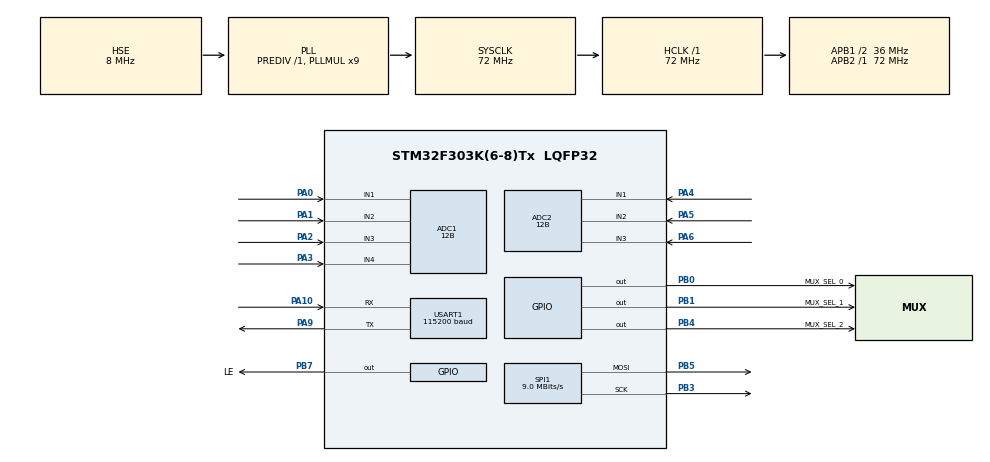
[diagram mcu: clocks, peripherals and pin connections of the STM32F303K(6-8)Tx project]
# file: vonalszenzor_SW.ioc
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ADC1.Channel-11\#ChannelRegularConversion=ADC_CHANNEL_1
ADC1.Channel-12\#ChannelRegularConversion=ADC_CHANNEL_2
ADC1.Channel-13\#ChannelRegularConversion=ADC_CHANNEL_3
ADC1.Channel-14\#ChannelRegularConversion=ADC_CHANNEL_4
ADC1.ClockPrescaler=ADC_CLOCK_SYNC_PCLK_DIV1
ADC1.ContinuousConvMode=DISABLE
ADC1.DMAContinuousRequests=ENABLE
ADC1.DataAlign=ADC_DATAALIGN_RIGHT
ADC1.DiscontinuousConvMode=DISABLE
ADC1.EOCSelection=ADC_EOC_SEQ_CONV
ADC1.EnableAnalogWatchDog1=false
ADC1.EnableAnalogWatchDog2=false
ADC1.EnableAnalogWatchDog3=false
ADC1.EnableInjectedConversion=DISABLE
ADC1.EnableRegularConversion=ENABLE
ADC1.ExternalTrigConvEdge=ADC_EXTERNALTRIGCONVEDGE_NONE
ADC1.LowPowerAutoWait=DISABLE
ADC1.NbrOfConversion=4
ADC1.NbrOfConversionFlag=1
ADC1.Offset-11\#ChannelRegularConversion=0
ADC1.Offset-12\#ChannelRegularConversion=0
ADC1.Offset-13\#ChannelRegularConversion=0
ADC1.Offset-14\#ChannelRegularConversion=0
ADC1.OffsetNumber-11\#ChannelRegularConversion=ADC_OFFSET_NONE
ADC1.OffsetNumber-12\#ChannelRegularConversion=ADC_OFFSET_NONE
ADC1.OffsetNumber-13\#ChannelRegularConversion=ADC_OFFSET_NONE
ADC1.OffsetNumber-14\#ChannelRegularConversion=ADC_OFFSET_NONE
ADC1.Overrun=ADC_OVR_DATA_OVERWRITTEN
ADC1.Rank-11\#ChannelRegularConversion=1
ADC1.Rank-12\#ChannelRegularConversion=2
ADC1.Rank-13\#ChannelRegularConversion=3
ADC1.Rank-14\#ChannelRegularConversion=4
ADC1.Resolution=ADC_RESOLUTION_12B
ADC1.SamplingTime-11\#ChannelRegularConversion=ADC_SAMPLETIME_19CYCLES_5
ADC1.SamplingTime-12\#ChannelRegularConversion=ADC_SAMPLETIME_19CYCLES_5
ADC1.SamplingTime-13\#ChannelRegularConversion=ADC_SAMPLETIME_19CYCLES_5
ADC1.SamplingTime-14\#ChannelRegularConversion=ADC_SAMPLETIME_19CYCLES_5
ADC1.ScanConvMode=ADC_SCAN_ENABLE
ADC1.master=1
ADC2.Channel-0\#ChannelRegularConversion=ADC_CHANNEL_1
ADC2.Channel-1\#ChannelRegularConversion=ADC_CHANNEL_2
ADC2.Channel-2\#ChannelRegularConversion=ADC_CHANNEL_3
ADC2.ClockPrescaler=ADC_CLOCK_SYNC_PCLK_DIV1
ADC2.ContinuousConvMode=DISABLE
ADC2.DMAContinuousRequests=ENABLE
ADC2.DataAlign=ADC_DATAALIGN_RIGHT
ADC2.DiscontinuousConvMode=DISABLE
ADC2.EOCSelection=ADC_EOC_SEQ_CONV
ADC2.EnableAnalogWatchDog1=false
ADC2.EnableAnalogWatchDog2=false
ADC2.EnableAnalogWatchDog3=false
ADC2.EnableInjectedConversion=DISABLE
ADC2.EnableRegularConversion=ENABLE
ADC2.ExternalTrigConvEdge=ADC_EXTERNALTRIGCONVEDGE_NONE
ADC2.LowPowerAutoWait=DISABLE
ADC2.NbrOfConversion=3
ADC2.NbrOfConversionFlag=1
ADC2.Offset-0\#ChannelRegularConversion=0
ADC2.Offset-1\#ChannelRegularConversion=0
ADC2.Offset-2\#ChannelRegularConversion=0
ADC2.OffsetNumber-0\#ChannelRegularConversion=ADC_OFFSET_NONE
ADC2.OffsetNumber-1\#ChannelRegularConversion=ADC_OFFSET_NONE
ADC2.OffsetNumber-2\#ChannelRegularConversion=ADC_OFFSET_NONE
ADC2.Overrun=ADC_OVR_DATA_OVERWRITTEN
ADC2.Rank-0\#ChannelRegularConversion=1
ADC2.Rank-1\#ChannelRegularConversion=2
ADC2.Rank-2\#ChannelRegularConversion=3
ADC2.Resolution=ADC_RESOLUTION_12B
ADC2.SamplingTime-0\#ChannelRegularConversion=ADC_SAMPLETIME_19CYCLES_5
ADC2.SamplingTime-1\#ChannelRegularConversion=ADC_SAMPLETIME_19CYCLES_5
ADC2.SamplingTime-2\#ChannelRegularConversion=ADC_SAMPLETIME_19CYCLES_5
ADC2.ScanConvMode=ADC_SCAN_ENABLE
Dma.ADC1.0.Direction=DMA_PERIPH_TO_MEMORY
Dma.ADC1.0.Instance=DMA1_Channel1
Dma.ADC1.0.MemDataAlignment=DMA_MDATAALIGN_HALFWORD
Dma.ADC1.0.MemInc=DMA_MINC_ENABLE
Dma.ADC1.0.Mode=DMA_CIRCULAR
Dma.ADC1.0.PeriphDataAlignment=DMA_PDATAALIGN_HALFWORD
Dma.ADC1.0.PeriphInc=DMA_PINC_DISABLE
Dma.ADC1.0.Priority=DMA_PRIORITY_LOW
Dma.ADC2.1.Direction=DMA_PERIPH_TO_MEMORY
Dma.ADC2.1.Instance=DMA1_Channel2
Dma.ADC2.1.MemDataAlignment=DMA_MDATAALIGN_HALFWORD
Dma.ADC2.1.MemInc=DMA_MINC_ENABLE
Dma.ADC2.1.Mode=DMA_CIRCULAR
Dma.ADC2.1.PeriphDataAlignment=DMA_PDATAALIGN_HALFWORD
Dma.ADC2.1.PeriphInc=DMA_PINC_DISABLE
Dma.ADC2.1.Priority=DMA_PRIORITY_LOW
Dma.Request0=ADC1
Dma.Request1=ADC2
Dma.Request2=USART1_TX
Dma.Request3=USART1_RX
Dma.USART1_RX.3.Direction=DMA_PERIPH_TO_MEMORY
Dma.USART1_RX.3.Instance=DMA1_Channel5
Dma.USART1_RX.3.MemDataAlignment=DMA_MDATAALIGN_BYTE
Dma.USART1_RX.3.MemInc=DMA_MINC_ENABLE
Dma.USART1_RX.3.Mode=DMA_CIRCULAR
Dma.USART1_RX.3.PeriphDataAlignment=DMA_PDATAALIGN_BYTE
Dma.USART1_RX.3.PeriphInc=DMA_PINC_DISABLE
Dma.USART1_RX.3.Priority=DMA_PRIORITY_LOW
Dma.USART1_TX.2.Direction=DMA_MEMORY_TO_PERIPH
Dma.USART1_TX.2.Instance=DMA1_Channel4
Dma.USART1_TX.2.MemDataAlignment=DMA_MDATAALIGN_BYTE
Dma.USART1_TX.2.MemInc=DMA_MINC_ENABLE
Dma.USART1_TX.2.Mode=DMA_NORMAL
Dma.USART1_TX.2.PeriphDataAlignment=DMA_PDATAALIGN_BYTE
Dma.USART1_TX.2.PeriphInc=DMA_PINC_DISABLE
Dma.USART1_TX.2.Priority=DMA_PRIORITY_LOW
Mcu.Family=STM32F3
Mcu.Name=STM32F303K(6-8)Tx
Mcu.Package=LQFP32
NVIC.ADC1_2_IRQn=true\:0\:0\:false\:false\:true
NVIC.DMA1_Channel1_IRQn=true\:0\:0\:false\:false\:true
NVIC.DMA1_Channel2_IRQn=true\:0\:0\:false\:false\:true
NVIC.DMA1_Channel4_IRQn=true\:0\:0\:false\:false\:true
NVIC.DMA1_Channel5_IRQn=true\:0\:0\:false\:false\:true
NVIC.PriorityGroup=NVIC_PRIORITYGROUP_4
NVIC.TIM7_DAC2_IRQn=true\:0\:0\:false\:false\:true
NVIC.USART1_IRQn=true\:0\:0\:false\:false\:true
PA0.Mode=IN1-Single-Ended
PA0.Signal=ADC1_IN1
PA1.Mode=IN2-Single-Ended
PA1.Signal=ADC1_IN2
PA10.GPIO_FM8=SYSCFG_CFGR1_I2C_PB8_FMP
PA10.Mode=Asynchronous
PA10.Signal=USART1_RX
PA13.Mode=Serial_Wire
PA13.Signal=SYS_JTMS-SWDIO
PA14.Mode=Serial_Wire
PA14.Signal=SYS_JTCK-SWCLK
PA2.Mode=IN3-Single-Ended
PA2.Signal=ADC1_IN3
PA3.Mode=IN4-Single-Ended
PA3.Signal=ADC1_IN4
PA4.Mode=IN1-Single-Ended
PA4.Signal=ADC2_IN1
PA5.Mode=IN2-Single-Ended
PA5.Signal=ADC2_IN2
PA6.Mode=IN3-Single-Ended
PA6.Signal=ADC2_IN3
PA9.GPIO_FM8=SYSCFG_CFGR1_I2C_PB8_FMP
PA9.Mode=Asynchronous
PA9.Signal=USART1_TX
PB0.GPIO_Label=MUX_SEL_0
PB0.GPIO_Speed=GPIO_SPEED_FREQ_HIGH
PB0.PinState=GPIO_PIN_RESET
PB0.Signal=GPIO_Output
PB1.GPIO_Label=MUX_SEL_1
PB1.GPIO_Speed=GPIO_SPEED_FREQ_HIGH
PB1.Signal=GPIO_Output
PB3.Mode=TX_Only_Simplex_Unidirect_Master
PB3.Signal=SPI1_SCK
PB4.GPIO_Label=MUX_SEL_2
PB4.GPIO_Speed=GPIO_SPEED_FREQ_HIGH
PB4.Signal=GPIO_Output
PB5.Mode=TX_Only_Simplex_Unidirect_Master
PB5.Signal=SPI1_MOSI
PB7.GPIO_FM7=SYSCFG_CFGR1_I2C_PB7_FMP
PB7.GPIO_Label=LE
PB7.GPIO_Speed=GPIO_SPEED_FREQ_HIGH
PB7.Signal=GPIO_Output
PF0\ /\ OSC_IN.Mode=HSE-External-Oscillator
PF0\ /\ OSC_IN.Signal=RCC_OSC_IN
PF1\ /\ OSC_OUT.Mode=HSE-External-Oscillator
PF1\ /\ OSC_OUT.Signal=RCC_OSC_OUT
ProjectManager.HeapSize=0x200
ProjectManager.StackSize=0x400
ProjectManager.TargetToolchain=SW4STM32
RCC.AHBFreq_Value=72000000
RCC.APB1CLKDivider=RCC_HCLK_DIV2
RCC.APB1Freq_Value=36000000
RCC.APB1TimFreq_Value=72000000
RCC.APB2Freq_Value=72000000
RCC.APB2TimFreq_Value=72000000
RCC.CortexFreq_Value=72000000
RCC.HCLKFreq_Value=72000000
RCC.HSE_VALUE=8000000
RCC.HSIState=RCC_HSI_ON
RCC.HSI_VALUE=8000000
RCC.PLLMUL=RCC_PLL_MUL9
RCC.PLLSourceVirtual=RCC_PLLSOURCE_HSE
RCC.SYSCLKFreq_VALUE=72000000
RCC.SYSCLKSourceVirtual=RCC_SYSCLKSOURCE_PLLCLK
SPI1.BaudRatePrescaler=SPI_BAUDRATEPRESCALER_8
SPI1.CalculateBaudRate=9.0 MBits/s
SPI1.DataSize=SPI_DATASIZE_8BIT
SPI1.Mode=SPI_MODE_MASTER
SPI1.NSSPMode=SPI_NSS_PULSE_DISABLE
TIM7.Period=10079
TIM7.Prescaler=1
USART1.BaudRate=115200
USART1.SwapParam=UART_ADVFEATURE_SWAP_ENABLE
USART1.WordLength=UART_WORDLENGTH_8B
VP_TIM7_VS_ClockSourceINT.Mode=Enable_Timer
board=vonalszenzor_SW

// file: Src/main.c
/**
  ******************************************************************************
  * File Name          : main.c
  * Description        : Main program body
  ******************************************************************************
  *
  * COPYRIGHT(c) 2017 STMicroelectronics
  *
  * Redistribution and use in source and binary forms, with or without modification,
  * are permitted provided that the following conditions are met:
  *   1. Redistributions of source code must retain the above copyright notice,
  *      this list of conditions and the following disclaimer.
  *   2. Redistributions in binary form must reproduce the above copyright notice,
  *      this list of conditions and the following disclaimer in the documentation
  *      and/or other materials provided with the distribution.
  *   3. Neither the name of STMicroelectronics nor the names of its contributors
  *      may be used to endorse or promote products derived from this software
  *      without specific prior written permission.
  *
  * THIS SOFTWARE IS PROVIDED BY THE COPYRIGHT HOLDERS AND CONTRIBUTORS "AS IS"
  * AND ANY EXPRESS OR IMPLIED WARRANTIES, INCLUDING, BUT NOT LIMITED TO, THE
  * IMPLIED WARRANTIES OF MERCHANTABILITY AND FITNESS FOR A PARTICULAR PURPOSE ARE
  * DISCLAIMED. IN NO EVENT SHALL THE COPYRIGHT HOLDER OR CONTRIBUTORS BE LIABLE
  * FOR ANY DIRECT, INDIRECT, INCIDENTAL, SPECIAL, EXEMPLARY, OR CONSEQUENTIAL
  * DAMAGES (INCLUDING, BUT NOT LIMITED TO, PROCUREMENT OF SUBSTITUTE GOODS OR
  * SERVICES; LOSS OF USE, DATA, OR PROFITS; OR BUSINESS INTERRUPTION) HOWEVER
  * CAUSED AND ON ANY THEORY OF LIABILITY, WHETHER IN CONTRACT, STRICT LIABILITY,
  * OR TORT (INCLUDING NEGLIGENCE OR OTHERWISE) ARISING IN ANY WAY OUT OF THE USE
  * OF THIS SOFTWARE, EVEN IF ADVISED OF THE POSSIBILITY OF SUCH DAMAGE.
  *
  ******************************************************************************
  */
#include "main.h"
#include "stm32f3xx_hal.h"
#include "adc.h"
#include "dma.h"
#include "spi.h"
#include "tim.h"
#include "usart.h"
#include "gpio.h"

/* USER CODE BEGIN Includes */

#include "stdbool.h"
#include "math.h"

/* USER CODE END Includes */

/* USER CODE BEGIN PV */
/* Private variables ---------------------------------------------------------*/
/* Defines */
//WMA
#define WMAFILTERMELYSEG 16//Korabban 4 volt, de atirtam
//Vonalszam
#define NINCSVONAL 10
#define EGYVONAL 1
#define KETVONAL 2
#define HAROMVONAL 3
#define VONALHIBA 15
#define FULLVONAL 70
#define NORMAL_VONALKOVETES 50
//UTVONANALVALASZTAS
#define JOBB 30
#define BAL 45

/* Global Variable definition */
//ADC
volatile bool adckeszelso = false;
volatile bool adckeszmasodik = false;
uint16_t adceredmenyelso[4] = {0,0,0,0};
uint16_t adceredmenymasodik[3] = {0,0,0};
volatile bool varakozas280usec = false;

//WMA filter
uint32_t wmafilterarray_elso[WMAFILTERMELYSEG];
uint32_t wmafilterarray_masodik[WMAFILTERMELYSEG];

//UART
volatile bool uartcsomagerkezett=false;

/* USER CODE END PV */

void SystemClock_Config(void);
void Error_Handler(void);

/* USER CODE BEGIN PFP */
/* Private function prototypes -----------------------------------------------*/
void MUXselectkuldes(uint8_t* infraLEDminta);
void WMAfilterkezeles(uint32_t* WMAfilterarray, uint32_t* filteredposition, uint32_t* newelement);
void szenzorertekatlagolas (uint16_t* forrastomb, uint8_t hossz, uint32_t* eredmeny);
void koszszures(uint16_t* forrastomb, uint8_t hossz);
void visszajelzesthresholdolttombbol(uint16_t* forrastomb, uint8_t* visszajelzotomb, uint8_t hossz);
void vonalszam(uint16_t* forrastomb, uint8_t hossz, uint8_t* vonaltipus);
void utvonalvalasztas_szenzoradatokbol(uint16_t* forrastomb, uint8_t hossz, uint8_t irany);
uint16_t min(uint16_t elso, uint16_t masodik, uint16_t harmadik, uint16_t negyedik, uint16_t otodik);
void Minimumszuro_5(uint16_t* forrastomb, uint8_t hossz, uint16_t* szurt_ertekek_atlaga);
uint16_t kozepso_elem_5(uint16_t elso, uint16_t masodik, uint16_t harmadik, uint16_t negyedik, uint16_t otodik);
void Medianszuro5_es_atlag(uint16_t* forrastomb, uint8_t hossz, uint16_t* szurt_ertekek_atlaga);

//UART
void send16bitdecimal_to_uart(UART_HandleTypeDef* huart, uint16_t* data,uint32_t Timeout);
void sendadcvals_to_uart(UART_HandleTypeDef* huart, uint16_t* data1,uint16_t* data2, uint16_t* data3, uint16_t* data4,uint32_t Timeout);

/* USER CODE END PFP */

/* USER CODE BEGIN 0 */

/*Periferiak kezelofuggvenyei (weak callback-ek) */

void HAL_ADC_ConvCpltCallback(ADC_HandleTypeDef* hadc)
{
	if(hadc->Instance == ADC1)
	{
		adckeszelso=true;
	}

	else if(hadc->Instance == ADC2)
	{
		adckeszmasodik=true;
	}
}

void HAL_TIM_PeriodElapsedCallback(TIM_HandleTypeDef* htim)
{
	if (htim->Instance == TIM7)
	{
		varakozas280usec = true;
	}
}

void HAL_UART_RxCpltCallback(UART_HandleTypeDef *huart)
{
	if (huart->Instance == USART1)
	{
		uartcsomagerkezett=true;
	}
}
/* USER CODE END 0 */

int main(void)
{

  /* USER CODE BEGIN 1 */
  /* Local Variable definition */
	//SPI
	uint8_t infraLEDminta=0b00000001;
	uint8_t visszajelzoLEDminta[4] = {0,0,0,0};
	uint8_t SPIIteracio=8;

	//ADC
	uint16_t szenzorertekek_elso[4][8];
	uint16_t szenzorertekek_thresholddal_elso[4][8];

	uint16_t szenzorertekek_masodik[3][8];
	uint16_t szenzorertekek_thresholddal_masodik[3][8];

	uint16_t threshold_elso=1200;//1300;//900;
	uint16_t threshold_masodik=1200;
	uint16_t threshold=1200;

	//Szenzor adatok
	uint32_t pozicio_elso=1600;
	uint32_t pozicio_elozo_elso;
	uint32_t pozicioWMA_elso;
	uint8_t vonaltipus=EGYVONAL;

	uint32_t pozicio_masodik=1200;
	uint32_t pozicio_elozo_masodik;
	uint32_t pozicioWMA_masodik;

	//UTVONALVALASZTAS
	bool utvonalvalasztas_aktiv=false;
	bool jobbra_menjunk=false;
	bool balra_menjunk=false;
	uint8_t vonaltipus_elozo=EGYVONAL;

	//UART
	 uint8_t endline=10;
	 uint8_t CR=13;
	 uint8_t tab=9;
	 uint8_t zero[4]={48,48,48,48};
	 uint8_t elkuldendo[5]={0,0,0,0,0};
	 uint8_t uart_rx_csomag;
	 bool uartcsomag_elkapva=false;
	 char string[20];

	 uint8_t ciklusszamlalo=0;

  /* USER CODE END 1 */

  /* MCU Configuration----------------------------------------------------------*/

  /* Reset of all peripherals, Initializes the Flash interface and the Systick. */
  HAL_Init();

  /* Configure the system clock */
  SystemClock_Config();

  /* Initialize all configured peripherals */
  MX_GPIO_Init();
  MX_DMA_Init();
  MX_USART1_UART_Init();
  MX_SPI1_Init();
  MX_ADC1_Init();
  MX_ADC2_Init();
  MX_TIM7_Init();

  /* USER CODE BEGIN 2 */
  HAL_UART_Receive_DMA(&huart1, &uart_rx_csomag, 1);

  /* USER CODE END 2 */

  /* Infinite loop */
  /* USER CODE BEGIN WHILE */
  while (1)
  {
	  //A TCRT-k infraLED-mintajanak kikuldese SPI-on (7 ugyanolyan byte mivel 7x8 TCRT van)
	  for(int q=0; q<7; q++)
	  {
		  HAL_SPI_Transmit(&hspi1,&infraLEDminta,1,1000);
	  }
	  //A visszajelzo LED-ekhez 4 byte kikuldese SPI-on
	  HAL_SPI_Transmit(&hspi1, visszajelzoLEDminta, 4, 1000);

	  //Latch enable impulzus kiadása
	  HAL_GPIO_WritePin(LE_GPIO_Port,LE_Pin,GPIO_PIN_SET);
	  HAL_GPIO_WritePin(LE_GPIO_Port,LE_Pin,GPIO_PIN_RESET);

	  //Timer inditas, hogy a TCRT-k baziskapacitasa biztos feltoltodjon  - 280us -------------------------------------------------------------------------------------------
	  varakozas280usec=false;
	  __HAL_TIM_SET_COUNTER(&htim7, 0);
	  HAL_TIM_Base_Start_IT(&htim7);

	  //MUX kezeles
	  MUXselectkuldes(&infraLEDminta);

	  //szenzorertekek teljes feldolgozasa a 8. iteracioban + UART kuldes
	  if(infraLEDminta==0b00000010)
	  {
		  /*ciklusszamlalo++;
		  if(ciklusszamlalo > 100)
		  {
			  ciklusszamlalo=0;
			  Medianszuro5_es_atlag(szenzorertekek_masodik, 24, &threshold_masodik);
			  Medianszuro5_es_atlag(szenzorertekek_elso, 32, &threshold_elso);
		  }*/

		  //ELSO szenzorsor -----------
		  //FONTOS! Egyes fuggvenyek a megkapott tomboket manipulaljak, igy a sorrendjuk nem mindegy!!!
		 // koszszures(szenzorertekek_thresholddal_elso, 32);
		  vonalszam(szenzorertekek_thresholddal_elso, 32, &vonaltipus);
		  visszajelzesthresholdolttombbol(szenzorertekek_thresholddal_elso, visszajelzoLEDminta, 32);

		  //Ha kell utvonalat valasztani az ugyessegin, akkor a thresholdolt tombot manipulaljuk
		  //Csak a megfelelo iranyban levo vonal marad meg, ebbol szamoljuk a poziciot
		  if(utvonalvalasztas_aktiv==true)
		  {
			  if(balra_menjunk)
				  utvonalvalasztas_szenzoradatokbol(szenzorertekek_thresholddal_elso, 32, BAL);
			  else if(jobbra_menjunk)
				  utvonalvalasztas_szenzoradatokbol(szenzorertekek_thresholddal_elso, 32, JOBB);
		  }

		  szenzorertekatlagolas(szenzorertekek_thresholddal_elso,32,&pozicio_elso);
		  //Az elso szenzorsor forditva van bekotve, igy a poziciot at kell forditani a masik iranyba. De ha 0 a pozicio, akkor nem latunk vonalat, ekkor nem szabad valtoztatni. Ehhez ez kell:
		  if(pozicio_elso)
			  pozicio_elso=3300-pozicio_elso;

		  //Elmentjuk az utolso poziciot, amit lattunk. Amennyiben leterunk a vonalrol, az utolso latott poziciot tartjuk.
		  //A nulla pozicio valos jelentese az hogy nem latunk vonalat. Egyebkent az ertektartomanya: [jobb:100,3200:bal]
		  if (pozicio_elso==0)
		  {
			  pozicio_elso=pozicio_elozo_elso;
		  }
		  else
		  {
			  pozicio_elozo_elso=pozicio_elso;
		  }

		  WMAfilterkezeles(wmafilterarray_elso, &pozicioWMA_elso, &pozicio_elso);

		 /* send16bitdecimal_to_uart(&huart1, (uint16_t*) &pozicioWMA_elso, 1000);
		  HAL_UART_Transmit(&huart1,&tab, sizeof(uint8_t), 100000);*/

		  //MASODIK szenzorsor ---------------------
		  //FONTOS! Egyes fuggvenyek a megkapott tomboket manipulaljak, igy a sorrendjuk nem mindegy!!!
		 // koszszures(szenzorertekek_thresholddal_masodik, 24);

		  //Ha kell utvonalat valasztani az ugyessegin, akkor a thresholdolt tombot manipulaljuk
		  //Csak a megfelelo iranyban levo vonal marad meg, ebbol szamoljuk a poziciot
		  if(utvonalvalasztas_aktiv==true)
		  {
			  if(balra_menjunk)
				  utvonalvalasztas_szenzoradatokbol(szenzorertekek_thresholddal_masodik, 24, BAL);
			  else if(jobbra_menjunk)
				  utvonalvalasztas_szenzoradatokbol(szenzorertekek_thresholddal_masodik, 24, JOBB);
			  //Ha ujra egy vonalat latunk, akkor vege az utvonalvalaszto allapotnak
			 /* if(vonaltipus==EGYVONAL && vonaltipus_elozo==KETVONAL)
			  {
				  utvonalvalasztas_aktiv=false;
				  balra_menjunk=false;
				  jobbra_menjunk=false;
			  }
			  vonaltipus_elozo=vonaltipus;*/
		  }

		  szenzorertekatlagolas(szenzorertekek_thresholddal_masodik,24,&pozicio_masodik);

		  //Elmentjuk az utolso poziciot, amit lattunk. Amennyiben leterunk a vonalrol, az utolso latott poziciot tartjuk.
		  //A nulla pozicio valos jelentese az hogy nem latunk vonalat. Egyebkent az ertektartomanya: [jobb:100,2400:bal]
		  if (pozicio_masodik==0)
		  {
			  pozicio_masodik=pozicio_elozo_masodik;
		  }
		  else
		  {
			  pozicio_elozo_masodik=pozicio_masodik;
		  }

		  WMAfilterkezeles(wmafilterarray_masodik, &pozicioWMA_masodik, &pozicio_masodik);

		  /*send16bitdecimal_to_uart(&huart1, (uint16_t*) &pozicioWMA_masodik, 1000);
		  HAL_UART_Transmit(&huart1,&endline, sizeof(uint8_t), 100000);
		  HAL_UART_Transmit(&huart1,&CR, sizeof(uint8_t), 100000);*/

		  //ADC adatok elkuldese ----------------------

		/*  sendadcvals_to_uart(&huart1, szenzorertekek_elso[0], szenzorertekek_elso[1], szenzorertekek_elso[2], szenzorertekek_elso[3], 1000);
		  HAL_UART_Transmit(&huart1, &endline, 1 , 10000 );
		  HAL_UART_Transmit(&huart1, &CR, 1, 1000);
		  send16bitdecimal_to_uart(&huart1, &threshold_elso, 1000);
		  HAL_UART_Transmit(&huart1, &endline, 1 , 10000 );
		  HAL_UART_Transmit(&huart1, &CR, 1, 1000);
		  sendadcvals_to_uart(&huart1, szenzorertekek_masodik[0], szenzorertekek_masodik[1], szenzorertekek_masodik[2],szenzorertekek_masodik[3] ,1000);
		  HAL_UART_Transmit(&huart1, &endline, 1 , 10000 );
		  HAL_UART_Transmit(&huart1, &CR, 1, 1000);
		  send16bitdecimal_to_uart(&huart1, &threshold_masodik, 1000);
		  HAL_UART_Transmit(&huart1, &endline, 1 , 10000 );
		  HAL_UART_Transmit(&huart1, &CR, 1, 1000);
*/

		  if(uartcsomagerkezett)
		  {
			  //Ha kaptunk uzenetet a nucelotol, feldolgozzuk. (akadaly eseten jobbra, vagy balra megyunk)
			  //A 3.-ik visszakuldendo csomagba egy ACK-t bele &-elunk (ACK: 0b11110000)
			  if(uart_rx_csomag==BAL)
			  {
				  utvonalvalasztas_aktiv=true;
				  balra_menjunk=true;
				  jobbra_menjunk=false;
			  }
			  if(uart_rx_csomag==JOBB)
			  {
				  utvonalvalasztas_aktiv=true;
				  balra_menjunk=false;
				  jobbra_menjunk=true;
			  }
			  if(uart_rx_csomag==NORMAL_VONALKOVETES)
			  {
				  utvonalvalasztas_aktiv=false;
				  balra_menjunk=false;
				  jobbra_menjunk=false;

			  }
			  uartcsomag_elkapva=true;
			  uartcsomagerkezett=false; //Ez jo lesz, ha ez alatt veletlen nem kapunk uzenetet (az elvesz). Viszont varhatoan a nucelo ilyenkor nem kuld...---
		  }

		  //NUCLEONAK UART-on pozicio es vonalszam elkuldese

		  elkuldendo[0]= 0x000000ff & pozicioWMA_elso;
		  elkuldendo[1]= (0x0000ff00 & pozicioWMA_elso)/0xff;
		  elkuldendo[2]= 0x000000ff & pozicioWMA_masodik;
		  elkuldendo[3]= (0x0000ff00 & pozicioWMA_masodik)/0xff;

		  /*if(uartcsomag_elkapva==true)
		  {
			  //Acknowledge: a felso 4 bit 1-es, ha elkaptuk a csomagot
			  //16-bites adatmerettel lehet hogy gondok lesznek...---
			  elkuldendo[2]= (vonaltipus & 0b11110000);
			  uartcsomag_elkapva=false;
		  }
		  else
		  {
			  elkuldendo[2]= vonaltipus;
		  }*/
		  elkuldendo[4] = vonaltipus;
		  /*elkuldendo[0]= (uint16_t) pozicioWMA_elso;
		  elkuldendo[1]= (uint16_t) pozicioWMA_masodik;
		  if(uartcsomag_elkapva==true)
		  {
			  //Acknowledge: a felso 4 bit 1-es, ha elkaptuk a csomagot
			  //16-bites adatmerettel lehet hogy gondok lesznek...---
			  elkuldendo[2]= (vonaltipus & 0b11110000);
			  uartcsomag_elkapva=false;
		  }
		  else
		  {
			  elkuldendo[2]= vonaltipus;
		  }*/

		  /////FONTOS
		  HAL_UART_Transmit_DMA(&huart1, elkuldendo, 5);

	  }

	  //ADC adatok mentese, feldolgozasa
	  //HATSO
	  //ADC adatok mentese
	  {
	  for (int q=0; q<3; q++)
		szenzorertekek_masodik[q][SPIIteracio-1]=adceredmenymasodik[q];
	  }
	  threshold_masodik+=200;
	  if(threshold_masodik > 1000)
		  threshold_masodik=1000;
	  //Minimumszuro_5(szenzorertekek_masodik, 24, &threshold_masodik);
	  //Thresholdozas
	  for (int q=0; q<3; q++)
	  {
		  if (adceredmenymasodik[q] > threshold_masodik)
		  {
			  szenzorertekek_thresholddal_masodik[q][SPIIteracio-1] = adceredmenymasodik[q];
		  }
		  else
		  {
			  szenzorertekek_thresholddal_masodik[q][SPIIteracio-1] = 0;
		  }
	  }

	  //ELSO
	  //Gyors kijelzes threshold alapjan
	 /* for (int q=0; q<4; q++)
	  {
		  if (adceredmenyelso[q] > threshold)
		  {
			  visszajelzoLEDminta[3-q] = visszajelzoLEDminta[3-q] | (1 << (SPIIteracio-1)); //infraLEDminta;
		  }
		  else
		  {
			  visszajelzoLEDminta[3-q] = visszajelzoLEDminta[3-q] & ~(1 << (SPIIteracio-1)); //~infraLEDminta;
		  }
	  }*/
	  //ADC adatok mentese
	  for (int q=0; q<4; q++)
	  {
		szenzorertekek_elso[q][SPIIteracio-1]=adceredmenyelso[q];
	  }
	  threshold_elso+=200;
	  if(threshold_elso > 1000)
		  threshold_elso=1000;
	  //Minimumszuro_5(szenzorertekek_elso, 32, &threshold_elso);
	  //Thresholdozas
	  for (int q=0; q<4; q++)
	  {
		  if (adceredmenyelso[q] > threshold_elso)
		  {
			  szenzorertekek_thresholddal_elso[q][SPIIteracio-1] = adceredmenyelso[q];
		  }
		  else
		  {
			  szenzorertekek_thresholddal_elso[q][SPIIteracio-1] = 0;
		  }
	  }

	  //Vilagito TCRT LED-ek leptetese (minden 8-ik vilagit)
	  if (infraLEDminta==0b10000000)
	  {
		  infraLEDminta=0b00000001;
		  SPIIteracio=8;
	  }
	  else if (infraLEDminta==0b00000001)
	  {
		  infraLEDminta=0b00000010;
		  SPIIteracio=1;
	  }
	  else
	  {
		  infraLEDminta=infraLEDminta*2;
		  SPIIteracio+=1;
	  }

	  //280us timer vege ----------------------------------------------------------------------------------------------------------------------------------------
	  while(!varakozas280usec);
	  HAL_TIM_Base_Stop_IT(&htim7);

	  //ADC inditasa
	  //Hatso szenzorsorhoz
	  adckeszmasodik=false;
	  HAL_ADC_Start_DMA(&hadc2, (uint32_t *)adceredmenymasodik,3);
	  //Elso szenzorsorhoz
	  adckeszelso=false;
	  HAL_ADC_Start_DMA(&hadc1,(uint32_t *)adceredmenyelso,4);

	  //Hatso szenzorsor ADC konverzio vegere varakozas
	  while (!adckeszmasodik);

	  //Elso szenzorsor ADC konverzio vegere valo varakozas
	  while (!adckeszelso);

  /* USER CODE END WHILE */

  }

}

/** System Clock Configuration
*/
void SystemClock_Config(void)
{

  RCC_OscInitTypeDef RCC_OscInitStruct;
  RCC_ClkInitTypeDef RCC_ClkInitStruct;
  RCC_PeriphCLKInitTypeDef PeriphClkInit;

    /**Initializes the CPU, AHB and APB busses clocks
    */
  RCC_OscInitStruct.OscillatorType = RCC_OSCILLATORTYPE_HSE;
  RCC_OscInitStruct.HSEState = RCC_HSE_ON;
  RCC_OscInitStruct.HSEPredivValue = RCC_HSE_PREDIV_DIV1;
  RCC_OscInitStruct.HSIState = RCC_HSI_ON;
  RCC_OscInitStruct.PLL.PLLState = RCC_PLL_ON;
  RCC_OscInitStruct.PLL.PLLSource = RCC_PLLSOURCE_HSE;
  RCC_OscInitStruct.PLL.PLLMUL = RCC_PLL_MUL9;
  if (HAL_RCC_OscConfig(&RCC_OscInitStruct) != HAL_OK)
  {
    Error_Handler();
  }

    /**Initializes the CPU, AHB and APB busses clocks
    */
  RCC_ClkInitStruct.ClockType = RCC_CLOCKTYPE_HCLK|RCC_CLOCKTYPE_SYSCLK
                              |RCC_CLOCKTYPE_PCLK1|RCC_CLOCKTYPE_PCLK2;
  RCC_ClkInitStruct.SYSCLKSource = RCC_SYSCLKSOURCE_PLLCLK;
  RCC_ClkInitStruct.AHBCLKDivider = RCC_SYSCLK_DIV1;
  RCC_ClkInitStruct.APB1CLKDivider = RCC_HCLK_DIV2;
  RCC_ClkInitStruct.APB2CLKDivider = RCC_HCLK_DIV1;

  if (HAL_RCC_ClockConfig(&RCC_ClkInitStruct, FLASH_LATENCY_2) != HAL_OK)
  {
    Error_Handler();
  }

  PeriphClkInit.PeriphClockSelection = RCC_PERIPHCLK_USART1;
  PeriphClkInit.Usart1ClockSelection = RCC_USART1CLKSOURCE_PCLK1;
  if (HAL_RCCEx_PeriphCLKConfig(&PeriphClkInit) != HAL_OK)
  {
    Error_Handler();
  }

    /**Configure the Systick interrupt time
    */
  HAL_SYSTICK_Config(HAL_RCC_GetHCLKFreq()/1000);

    /**Configure the Systick
    */
  HAL_SYSTICK_CLKSourceConfig(SYSTICK_CLKSOURCE_HCLK);

  /* SysTick_IRQn interrupt configuration */
  HAL_NVIC_SetPriority(SysTick_IRQn, 0, 0);
}

/* USER CODE BEGIN 4 */
void Medianszuro5_es_atlag(uint16_t* forrastomb, uint8_t hossz, uint16_t* szurt_ertekek_atlaga)
{
	//OTOS MEDIAN
	//A szeleken nem csinalunk semmit
	//Visszaadjuk a szurt array atlagat
	uint32_t sum=0;

		for(int i=2; i<(hossz-2);i++)
		{
			sum+=kozepso_elem_5(forrastomb[i-2], forrastomb[i-1], forrastomb[i], forrastomb[i+1], forrastomb[i+2]);
		}
		sum+=forrastomb[0]+forrastomb[1]+forrastomb[hossz-1]+forrastomb[hossz-2];

		*szurt_ertekek_atlaga = sum/hossz;

}

void Minimumszuro_5(uint16_t* forrastomb, uint8_t hossz, uint16_t* szurt_ertekek_atlaga)
{
//5-os minimumszuro ablak, majd atlagolas -> thresholdot megkapjuk
//Teszt, fuga,
//Cel miatt a thresholdnak van maximuma
uint32_t sum=0;

	for(int i=2; i<(hossz-2);i++)
	{
		if(i==2 || i==(hossz-3))
		{
			sum+=(min(forrastomb[i-2], forrastomb[i-1], forrastomb[i], forrastomb[i+1], forrastomb[i+2]))*3; //szeleken nem csuszik az atlag

		}
		else
		{
			sum+=min(forrastomb[i-2], forrastomb[i-1], forrastomb[i], forrastomb[i+1], forrastomb[i+2]);
		}

		//*szurt_ertekek_atlaga = sum/hossz; // rossz helyen van !!!! egyel lejjebb kellene
	}
	*szurt_ertekek_atlaga = sum/hossz;//ide
}
uint16_t min(uint16_t elso, uint16_t masodik, uint16_t harmadik, uint16_t negyedik, uint16_t otodik)
{
	uint16_t minimum;

	if(elso < masodik)
		minimum=elso;
	else
		minimum=masodik;

	if(minimum > harmadik)
		minimum=harmadik;
	if(minimum > negyedik)
		minimum=negyedik;
	if(minimum > otodik)
		minimum=otodik;

	return minimum;

}
uint16_t kozepso_elem_5(uint16_t elso, uint16_t masodik, uint16_t harmadik, uint16_t negyedik, uint16_t otodik)
{
	//Selection sort: serach the minimum, then the second minimum, and the third is the median. The first min goes to elso, the second to masodik
	uint16_t minimum=0;
	uint16_t minimum2=0;
	minimum=min(elso,masodik, harmadik, negyedik, otodik);
	//csere: elso min
	if(minimum==masodik)
	{
		masodik=elso;
	}
	else if(minimum==harmadik)
	{
		harmadik=elso;
	}
	else if(minimum==negyedik)
	{
		negyedik=elso;
	}
	else if(minimum==otodik)
	{
		otodik=elso; //nem kell
	}
	//elso=minimum;

	minimum2=min(masodik, harmadik, negyedik, otodik, 4096);

	if(minimum2==harmadik)
	{
		harmadik=masodik;
	}
	else if(minimum2==negyedik)
	{
		negyedik=masodik;
	}
	else if(minimum2==otodik)
	{
		otodik=masodik;
	}
	//masodik=minimum; // nem kell

	return min(harmadik, negyedik, otodik, 4096, 4096);
}

void MUXselectkuldes(uint8_t* infraLEDminta)
{
	//Allapotgep: infra LED minta alapjan a megfelelo TCRT fototranzisztorok kivalasztasa a MUX-okkal
	//A jelenlegi infra LED minta alapjan a JELENLEGI MUX select jelek kikuldese
	  if (*infraLEDminta==0b00000001)
	  {
		  HAL_GPIO_WritePin(MUX_SEL_0_GPIO_Port,MUX_SEL_0_Pin,GPIO_PIN_SET);
		  HAL_GPIO_WritePin(MUX_SEL_1_GPIO_Port,MUX_SEL_1_Pin,GPIO_PIN_SET);
		  HAL_GPIO_WritePin(MUX_SEL_2_GPIO_Port,MUX_SEL_2_Pin,GPIO_PIN_SET);

	  }
	  else if (*infraLEDminta==0b00000010)
	  {
		  HAL_GPIO_WritePin(MUX_SEL_0_GPIO_Port,MUX_SEL_0_Pin,GPIO_PIN_RESET);
		  HAL_GPIO_WritePin(MUX_SEL_1_GPIO_Port,MUX_SEL_1_Pin,GPIO_PIN_SET);
		  HAL_GPIO_WritePin(MUX_SEL_2_GPIO_Port,MUX_SEL_2_Pin,GPIO_PIN_SET);

	  }
	  else if (*infraLEDminta==0b00000100)
	  {
		  HAL_GPIO_WritePin(MUX_SEL_0_GPIO_Port,MUX_SEL_0_Pin,GPIO_PIN_SET);
		  HAL_GPIO_WritePin(MUX_SEL_1_GPIO_Port,MUX_SEL_1_Pin,GPIO_PIN_RESET);
		  HAL_GPIO_WritePin(MUX_SEL_2_GPIO_Port,MUX_SEL_2_Pin,GPIO_PIN_SET);

	  }
	  else if (*infraLEDminta==0b00001000)
	  {
		  HAL_GPIO_WritePin(MUX_SEL_0_GPIO_Port,MUX_SEL_0_Pin,GPIO_PIN_RESET);
		  HAL_GPIO_WritePin(MUX_SEL_1_GPIO_Port,MUX_SEL_1_Pin,GPIO_PIN_RESET);
		  HAL_GPIO_WritePin(MUX_SEL_2_GPIO_Port,MUX_SEL_2_Pin,GPIO_PIN_SET);

	  }
	  else if (*infraLEDminta==0b00010000)
	  {
		  HAL_GPIO_WritePin(MUX_SEL_0_GPIO_Port,MUX_SEL_0_Pin,GPIO_PIN_SET);
		  HAL_GPIO_WritePin(MUX_SEL_1_GPIO_Port,MUX_SEL_1_Pin,GPIO_PIN_SET);
		  HAL_GPIO_WritePin(MUX_SEL_2_GPIO_Port,MUX_SEL_2_Pin,GPIO_PIN_RESET);

	  }
	  else if (*infraLEDminta==0b00100000)
	  {
		  HAL_GPIO_WritePin(MUX_SEL_0_GPIO_Port,MUX_SEL_0_Pin,GPIO_PIN_RESET);
		  HAL_GPIO_WritePin(MUX_SEL_1_GPIO_Port,MUX_SEL_1_Pin,GPIO_PIN_SET);
		  HAL_GPIO_WritePin(MUX_SEL_2_GPIO_Port,MUX_SEL_2_Pin,GPIO_PIN_RESET);

	  }
	  else if (*infraLEDminta==0b01000000)
	  {
		  HAL_GPIO_WritePin(MUX_SEL_0_GPIO_Port,MUX_SEL_0_Pin,GPIO_PIN_SET);
		  HAL_GPIO_WritePin(MUX_SEL_1_GPIO_Port,MUX_SEL_1_Pin,GPIO_PIN_RESET);
		  HAL_GPIO_WritePin(MUX_SEL_2_GPIO_Port,MUX_SEL_2_Pin,GPIO_PIN_RESET);

	  }
	  else if (*infraLEDminta==0b10000000)
	  {
		  HAL_GPIO_WritePin(MUX_SEL_0_GPIO_Port,MUX_SEL_0_Pin,GPIO_PIN_RESET);
		  HAL_GPIO_WritePin(MUX_SEL_1_GPIO_Port,MUX_SEL_1_Pin,GPIO_PIN_RESET);
		  HAL_GPIO_WritePin(MUX_SEL_2_GPIO_Port,MUX_SEL_2_Pin,GPIO_PIN_RESET);
	  }
}

//uj elemet tesz a FIFOba es kiszamolja az atlagot is (WeightedMovingAverage)
void WMAfilterkezeles(uint32_t* WMAfilterarray, uint32_t* filteredposition, uint32_t* newelement)
{
	*filteredposition=0;
	uint32_t coeffsum=0;
	for(int i=0; i<WMAFILTERMELYSEG-1; i++)
	{
		WMAfilterarray[i]=WMAfilterarray[i+1];
		*filteredposition+=WMAfilterarray[i]*(i+1);
		coeffsum+=(i+1);
	}
	WMAfilterarray[WMAFILTERMELYSEG-1]=*newelement;
	*filteredposition+=WMAfilterarray[WMAFILTERMELYSEG-1]*(WMAFILTERMELYSEG);
	coeffsum+=(WMAFILTERMELYSEG);
	*filteredposition=*filteredposition/coeffsum;
}

void szenzorertekatlagolas (uint16_t* forrastomb, uint8_t hossz, uint32_t* eredmeny)
{
	*eredmeny = 0;
	uint32_t suly=0;

	//Atlagolas: a szenzorpoziciot(*100) sulyozzuk a filterezett szenzor ertekkel, es azt atlagoljuk
	for(int i=0; i<hossz; i++)
	{
		*eredmeny += forrastomb[i]*100*(i+1);
		suly += forrastomb[i];
	}

	//Ne osszunk 0-val
	if(suly)
	{
		*eredmeny=*eredmeny/suly;
	}
}

void koszszures(uint16_t* forrastomb, uint8_t hossz)
{
//Thresholdozas utan hasznalni! Forrastomb egyben az eredmeny helye is.
//Ha lat a tombben egy nem nulla erteket, melyek szomszedai 0-k, akkor kinullazza azt is. Ertelme: 1 szenzor-szeles objektum az nem vonal, max kosz.
//Azert nem median szurot hasznalok, mert az az ertekes eredmenyek csucsait is megszurne, ezzel pedig adatot es pontossagot vesztenenk.
//A szelen is elvegzi a muveletet. Igy oldalrol bejovo vonal csak akkor lesz erzekelve, ha mar 2 szenzor is latja

	for (int i=1; i<hossz-1; i++)
	{
		if(forrastomb[i] > 0)
		{
			if( forrastomb[i-1]==0 && forrastomb[i+1]==0)
				forrastomb[i]=0;
		}
	}

	if(forrastomb[0]>0 && forrastomb[1]==0)
		forrastomb[0]=0;
	if(forrastomb[hossz-1]>0 && forrastomb[hossz-2]==0)
		forrastomb[hossz-1]=0;
}

void visszajelzesthresholdolttombbol(uint16_t* forrastomb, uint8_t* visszajelzotomb, uint8_t hossz)
{
	//Ha a thresholdolt tomb egy eleme nem 0, akkor az annak megfelelo bitet a LED-es visszajelzo tombben bebillentjuk 0-ba.
	//Ha 0 a thresholdolt tomb eleme, akkor az ahhoz tartozó bitet kinullazuk.
	//A visszajelzo tombot az SPI miatt forditott byte-sorrendben irjuk!
	for (int i=0; i<hossz; i++)
	{
		if( forrastomb[i] > 0 )
		{
			visszajelzotomb[(hossz/8) - 1 - i/8] = visszajelzotomb[(hossz/8) - 1 - i/8] | (1 << (i%8));
		}
		else
		{
			visszajelzotomb[(hossz/8) - 1 - i/8] = visszajelzotomb[(hossz/8) - 1 - i/8] & ~(1 << (i%8));
		}
	}

}

void vonalszam(uint16_t* forrastomb, uint8_t hossz, uint8_t* vonaltipus)
//Megszamolja, hogy hany el van a thresholdolt oszlopdiagramban (van ertek=nincs ertek -> a ketto valtakozasa egy el)
{
	bool vanvonal=false;
	bool elozovanvonal=false;
	uint8_t elekszama=0;
	uint8_t hanyszenzorerzekel=0;

	for (int i=0; i<hossz; i++)
	{
		if(forrastomb[i] > 0)
		{
			vanvonal=true;
			hanyszenzorerzekel++;
		}
		else
		{
			vanvonal=false;
		}
		if (vanvonal^elozovanvonal)
		{
			elekszama++;
		}
		elozovanvonal=vanvonal;
	}

	if(elekszama==0)
		*vonaltipus=NINCSVONAL;
	else if(elekszama==1 || elekszama==2)
		*vonaltipus=EGYVONAL;
	else if(elekszama==3 || elekszama==4)
		*vonaltipus=KETVONAL;
	else if(elekszama==5 || elekszama==6)
		*vonaltipus=HAROMVONAL;
	else
		*vonaltipus=VONALHIBA;

	if(hanyszenzorerzekel>28)
	{
		*vonaltipus=FULLVONAL;
	}
}

void utvonalvalasztas_szenzoradatokbol(uint16_t* forrastomb, uint8_t hossz, uint8_t irany)
{
	//Thresholdolt tombot var bemenetkent, ertek==0 ->nincs vonal; ertek!=0 -> van vonal
	//A megadott tombbol kivalasztja a legszelso jobb vagy bal egybefuggo vonalat, a tobbit pedig kinullazza
	//Bal oldal: a szenzorertek-tomb magas indexe felol
	//Jobb oldal: a szenzorertek-tomb alacsony indexe felol
	bool vanvonal=false;
	bool elozovanvonal=false;
	bool mar_megvan_a_kivalasztott_vonal=false;
	uint8_t elekszama=0;

	if(irany==BAL)
	{
		for(int i=hossz-1; i!=0; i--)
		{
			if(elekszama==2)
			{
				mar_megvan_a_kivalasztott_vonal=true;
			}

			if(mar_megvan_a_kivalasztott_vonal==false)
			{
				if(forrastomb[i] > 0)
				{
					vanvonal=true;
				}
				else
				{
					vanvonal=false;
				}
				if (vanvonal^elozovanvonal)
				{
					elekszama++;
				}
				elozovanvonal=vanvonal;
			}
			else
			{
				forrastomb[i]=0;
			}
		}
	}

	if(irany==JOBB)
	{
		for(int i=0; i<hossz; i++)
		{
			if(elekszama==2)
			{
				mar_megvan_a_kivalasztott_vonal=true;
			}

			if(mar_megvan_a_kivalasztott_vonal==false)
			{
				if(forrastomb[i] > 0)
				{
					vanvonal=true;
				}
				else
				{
					vanvonal=false;
				}
				if (vanvonal^elozovanvonal)
				{
					elekszama++;
				}
				elozovanvonal=vanvonal;
			}
			else
			{
				forrastomb[i]=0;
			}
		}
	}

}

void send16bitdecimal_to_uart(UART_HandleTypeDef* huart, uint16_t* data,uint32_t Timeout)
{
	uint16_t data2 = *data;
	uint16_t datacopy;
	uint32_t decimals;
	uint8_t txbyte;
	uint8_t issent=0;
	uint8_t space=32;
	for (int i=5; i>0; i--)
	{
		datacopy = data2;
		decimals=1;
		for (int j=i-1; j>0; j--)
		{
			datacopy=datacopy/10;
			decimals = decimals*10;
		}
		data2 -= datacopy*decimals;
		txbyte = (uint8_t) (datacopy+48);

		if(datacopy) //send spaces if zeros before the number
			issent=1;
		if(issent)
			HAL_UART_Transmit(huart, &txbyte, sizeof(txbyte), Timeout);
		else
			HAL_UART_Transmit(huart, &space, sizeof(txbyte), Timeout);
	}
}

void sendadcvals_to_uart(UART_HandleTypeDef* huart, uint16_t* data1,uint16_t* data2, uint16_t* data3, uint16_t* data4, uint32_t Timeout)
{
	uint8_t space=32;
	uint16_t* pdata;
	uint8_t endline=10;
	uint8_t CR=13;
	for (int i=0; i<4; i++)
	{
		if(i==0)
			pdata=data1;
		else if (i==1)
			pdata=data2;
		else if(i==2)
			pdata=data3;
		else if(i==3)
			pdata=data4;
		for (int j=0; j<8; j++)
		{
			send16bitdecimal_to_uart(huart, &(pdata[j]), Timeout);
			HAL_UART_Transmit(huart, &space, sizeof(uint8_t), Timeout);
		}
	}
	HAL_UART_Transmit(huart,&endline, sizeof(uint8_t), 100000);
	HAL_UART_Transmit(huart,&CR, sizeof(uint8_t), 100000);
}

/* USER CODE END 4 */

void Error_Handler(void)
{
  while(1)
  {
  }
}

/************************ (C) COPYRIGHT STMicroelectronics *****END OF FILE****/
